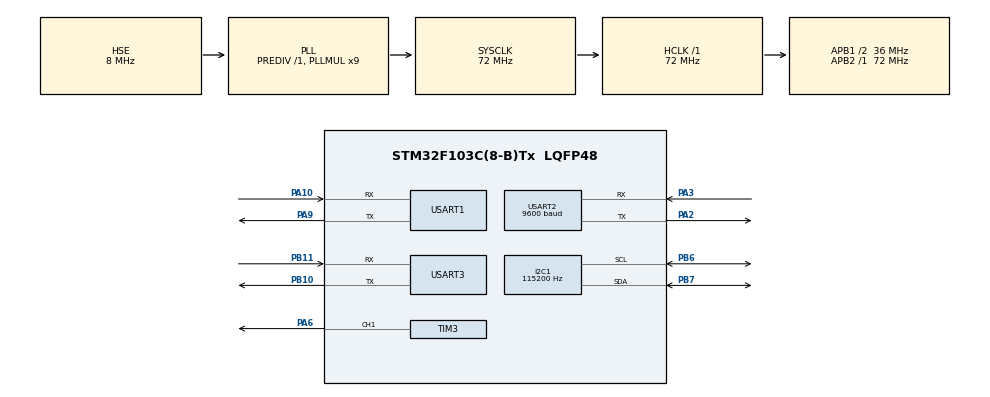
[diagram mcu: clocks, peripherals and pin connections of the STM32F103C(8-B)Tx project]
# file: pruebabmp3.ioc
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Dma.Request0=USART2_RX
Dma.USART2_RX.0.Direction=DMA_PERIPH_TO_MEMORY
Dma.USART2_RX.0.Instance=DMA1_Channel6
Dma.USART2_RX.0.MemDataAlignment=DMA_MDATAALIGN_BYTE
Dma.USART2_RX.0.MemInc=DMA_MINC_ENABLE
Dma.USART2_RX.0.Mode=DMA_CIRCULAR
Dma.USART2_RX.0.PeriphDataAlignment=DMA_PDATAALIGN_BYTE
Dma.USART2_RX.0.PeriphInc=DMA_PINC_DISABLE
Dma.USART2_RX.0.Priority=DMA_PRIORITY_HIGH
I2C1.ClockSpeed=115200
I2C1.I2C_Mode=I2C_Fast
Mcu.Family=STM32F1
Mcu.Name=STM32F103C(8-B)Tx
Mcu.Package=LQFP48
NVIC.DMA1_Channel6_IRQn=true\:0\:0\:false\:false\:true\:false\:true\:true
NVIC.PriorityGroup=NVIC_PRIORITYGROUP_4
PA10.Mode=Asynchronous
PA10.Signal=USART1_RX
PA2.Mode=Asynchronous
PA2.Signal=USART2_TX
PA3.Mode=Asynchronous
PA3.Signal=USART2_RX
PA6.Signal=S_TIM3_CH1
PA9.Mode=Asynchronous
PA9.Signal=USART1_TX
PB10.Mode=Asynchronous
PB10.Signal=USART3_TX
PB11.Mode=Asynchronous
PB11.Signal=USART3_RX
PB6.Mode=I2C
PB6.Signal=I2C1_SCL
PB7.Mode=I2C
PB7.Signal=I2C1_SDA
PD0-OSC_IN.Mode=HSE-External-Oscillator
PD0-OSC_IN.Signal=RCC_OSC_IN
PD1-OSC_OUT.Mode=HSE-External-Oscillator
PD1-OSC_OUT.Signal=RCC_OSC_OUT
ProjectManager.HeapSize=0x200
ProjectManager.StackSize=0x400
ProjectManager.TargetToolchain=STM32CubeIDE
RCC.AHBFreq_Value=72000000
RCC.APB1CLKDivider=RCC_HCLK_DIV2
RCC.APB1Freq_Value=36000000
RCC.APB1TimFreq_Value=72000000
RCC.APB2Freq_Value=72000000
RCC.APB2TimFreq_Value=72000000
RCC.HCLKFreq_Value=72000000
RCC.PLLMUL=RCC_PLL_MUL9
RCC.PLLSourceVirtual=RCC_PLLSOURCE_HSE
RCC.SYSCLKFreq_VALUE=72000000
RCC.SYSCLKSource=RCC_SYSCLKSOURCE_PLLCLK
RCC.USBFreq_Value=72000000
SH.S_TIM3_CH1.0=TIM3_CH1,PWM Generation1 CH1
TIM3.Channel-PWM\ Generation1\ CH1=TIM_CHANNEL_1
TIM3.Period=19999
TIM3.Prescaler=71
TIM3.Pulse-PWM\ Generation1\ CH1=1500
USART1.VirtualMode=VM_ASYNC
USART2.BaudRate=9600
USART2.VirtualMode=VM_ASYNC
USART3.VirtualMode=VM_ASYNC
VP_SYS_VS_ND.Mode=No_Debug
board=custom

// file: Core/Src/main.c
/* USER CODE BEGIN Header */
/**
  ******************************************************************************
  * @file           : main.c
  * @brief          : Main program body
  ******************************************************************************
  * @attention
  *
  * Copyright (c) 2024 STMicroelectronics.
  * All rights reserved.
  *
  * This software is licensed under terms that can be found in the LICENSE file
  * in the root directory of this software component.
  * If no LICENSE file comes with this software, it is provided AS-IS.
  *
  ******************************************************************************
  */
/* USER CODE END Header */
#include "main.h"

/* USER CODE BEGIN Includes */
#include <bmp280.h>
#include <stdio.h>
#include <string.h>
#include <math.h>
#include <uart.h>
#include <mpu9250.h>
#include <stdlib.h>

/* USER CODE END Includes */

/* USER CODE BEGIN PD */
#define GPS_BUFFER_SIZE 1024
uint8_t gpsBuffer[GPS_BUFFER_SIZE];
volatile uint32_t gpsBufferIndex = 0;
volatile uint8_t gpsDataReady = 0;
/* USER CODE END PD */

I2C_HandleTypeDef hi2c1;

TIM_HandleTypeDef htim3;

UART_HandleTypeDef huart1;
UART_HandleTypeDef huart2;
UART_HandleTypeDef huart3;
DMA_HandleTypeDef hdma_usart2_rx;

/* USER CODE BEGIN PV */
BMP280_HandleTypedef bmp280;
float pressure;
float temperature;
float humidity;
uint16_t size;
uint8_t Data[256];
//MODULO GPS
uint8_t Rxdata[750];
char Txdata[750];
uint8_t Flag=0;
char *ptr;

char GPS_Payload[100];
float time = 0, latitude = 0, longitude = 0;
char lat_dir = 'N', long_dir = 'E';
int hours = 0, minutes = 0;
float seconds = 0;

volatile uint32_t lastTransmissionTime = 0;
	//variables para transmitir

uint16_t tamaño=0;
char Mensaje_a_enviar_var_unidas[500];
char mensaje[500];

//altitud:

float gps_altitude = 0; // Nueva variable para la altitud del GPS

//Press=82893.48Pa
#define FILTER_SIZE 10
#define PO 74450.0f //Presion en cajicá
//#define PO 82318.98f  // Presión en lab de camilo
#define RO 1.225f    // Densidad del aire a nivel del mar en kg/m³
#define G 9.81f      // Aceleración debido a la gravedad en m/s²

float pressureBuffer[FILTER_SIZE];
int bufferIndex = 0;

///ahorrodeenergia
uint32_t lastWakeTime = 0;
const uint32_t SLEEP_INTERVAL = 5000; // 5 segundos de intervalo de sueño
const uint32_t TRANSMIT_INTERVAL = 60000; // 1 minuto entre transmisiones
//servo

#define SERVO_MIN_PULSE 1000   // 0 grados
#define SERVO_MAX_PULSE 2000  // 180 grados
#define SERVO_FILTER_SIZE 5
float servoAngleBuffer[SERVO_FILTER_SIZE] = {0};
int servoBufferIndex = 0;

#define ALTITUDE_MIN 0        // Altitud mínima en metros
#define ALTITUDE_TARGET 200.0f   // Altitud objetivo en metros (1.5m como especificaste)
#define ALTITUDE_MAX 500       // Altitud máxima en metros

TIM_HandleTypeDef htim3;
float baseAltitude = 0;      // Altitud base (nivel del suelo)

float lastAltitude = 0;
bool passedFirstPeak = false;
float servoAngle = 0;

/* USER CODE END PV */

void SystemClock_Config(void);
static void MX_GPIO_Init(void);
static void MX_DMA_Init(void);
static void MX_I2C1_Init(void);
static void MX_USART1_UART_Init(void);
static void MX_USART3_UART_Init(void);
static void MX_USART2_UART_Init(void);
static void MX_TIM3_Init(void);
/* USER CODE BEGIN PFP */
void process_gps_data(void);
void send_gps_data(void);
void Format_data(float time, float lat, char lat_dir, float lon, char long_dir, float gps_alt);
void LoRa_Init(void);
void initializeServo(void);
void LoRa_Send(const char* data);
float movingAverageFilter(float newValue);
float calculateAltitude(float pressure);
void moveServoBasedOnAltitude(float altitude);
float filterServoAngle(float newAngle);
void moveServoToAngle(float angle);
/* USER CODE END PFP */

int main(void)
{

  /* MCU Configuration--------------------------------------------------------*/

  /* Reset of all peripherals, Initializes the Flash interface and the Systick. */
  HAL_Init();

  /* Configure the system clock */
  SystemClock_Config();

  /* Initialize all configured peripherals */
  MX_GPIO_Init();
  MX_DMA_Init();
  MX_I2C1_Init();
  MX_USART1_UART_Init();
  MX_USART3_UART_Init();
  MX_USART2_UART_Init();

  /* USER CODE BEGIN 2 */
  MX_TIM3_Init();
  HAL_TIM_Base_Start(&htim3);
  initializeServo();

  char debug[100];
  snprintf(debug, sizeof(debug), "Timer3 config: PSC=%lu, ARR=%lu, Frecuencia=%lu Hz\r\n",
           htim3.Init.Prescaler, htim3.Init.Period,
           HAL_RCC_GetPCLK1Freq() / ((htim3.Init.Prescaler + 1) * (htim3.Init.Period + 1)));
  HAL_UART_Transmit(&huart1, (uint8_t*)debug, strlen(debug), HAL_MAX_DELAY);

  LoRa_Init();
  HAL_UART_Receive_DMA(&huart2, (uint8_t*)gpsBuffer, GPS_BUFFER_SIZE);
  lastTransmissionTime = 0 ;

  //En estas lineas pasan cosas raras, aquí es donde se inicializa el dispositivo
  	  	bmp280_init_default_params(&bmp280.params);
    	bmp280.addr = BMP280_I2C_ADDRESS_0;
    	bmp280.i2c = &hi2c1;

    	while (!bmp280_init(&bmp280, &bmp280.params)) {
    	    sprintf((char *)Data, "BMP280 initialization failed\n");
    	    //uartx_write_text(&huart1, Data);
    	    HAL_Delay(1000);
    	}
	bool bme280p = bmp280.id == BMP280_CHIP_ID;
	sprintf((char *)Data, "BMP280: found %s\n", bme280p ? "BME280" : "BMP280");
	uartx_write_text(&huart1, Data);

	 float temp, pressure, humidity;
	 bmp280_read_float(&bmp280, &temp, &pressure, &humidity);

	 for (int i = 0; i < 20; i++) {  // Promedio de 10 lecturas
	     float temp, pressure, humidity;
	     bmp280_read_float(&bmp280, &temp, &pressure, &humidity);
	     baseAltitude += calculateAltitude(pressure);
	     HAL_Delay(100);  // Pequeña pausa entre lecturas
	 }
	 baseAltitude /= 20.0f;

	 //gps

  /* USER CODE END 2 */
  //Ciclo princial
  /* Infinite loop */
  while (1)
  {

    /* USER CODE BEGIN 3 */
	  uint32_t currentTime = HAL_GetTick();

	     if (currentTime - lastTransmissionTime >= 1000)  // 1000 ms = 1 segundo
	     {
	         // Leer datos del GPS
	         process_gps_data();

	         // Leer datos del BMP280
	         float temperature, pressure;
	         bmp280_read_float(&bmp280, &temperature, &pressure, NULL);

	         // Aplicar filtro de media móvil a la presión
	         float filteredPressure = movingAverageFilter(pressure);

	         // Calcular altitud con el BMP280
	         float bmp280_altitude = calculateAltitude(filteredPressure);
	         float relativeAltitude = bmp280_altitude - baseAltitude;

	         // Solo mover el servo si es necesario
	         moveServoBasedOnAltitude(bmp280_altitude);

	         // Leer datos del MPU9250
	         float accelData[3], gyroData[3], magData[3];
	         MPU9250_ReadAccel(&hi2c1, accelData);
	         MPU9250_ReadGyro(&hi2c1, gyroData);
	         MPU9250_ReadMag(&hi2c1, magData);

	         // Formar el mensaje con los datos
	         char buffer[512];
	         int len = snprintf(buffer, sizeof(buffer),
	             "Time=%02d:%02d:%05.2f,Lat=%.6f,Long=%.6f,"
	             "Temp=%.2fC,Press=%.2fPa,RelAlt=%.2fm,"
	             "AccX=%.2f,AccY=%.2f,AccZ=%.2f,"
	             "GyroX=%.2f,GyroY=%.2f,GyroZ=%.2f,"
	             "MagX=%.2f,MagY=%.2f,MagZ=%.2f\r\n",
	             hours, minutes, seconds, latitude, longitude,
	             temperature, filteredPressure, relativeAltitude,
	             accelData[0], accelData[1], accelData[2],
	             gyroData[0], gyroData[1], gyroData[2],
	             magData[0], magData[1], magData[2]);

	         // Enviar el mensaje por UART1
	         HAL_UART_Transmit(&huart1, (uint8_t *)buffer, len, HAL_MAX_DELAY);

	         // Enviar el mensaje por LoRa
	         LoRa_Send(buffer);

	         lastTransmissionTime = currentTime;
	     }

	     // Entrar en modo de bajo consumo
	     HAL_PWR_EnterSLEEPMode(PWR_MAINREGULATOR_ON, PWR_SLEEPENTRY_WFI);
  }
  /* USER CODE END 3 */
}

void SystemClock_Config(void)
{
  RCC_OscInitTypeDef RCC_OscInitStruct = {0};
  RCC_ClkInitTypeDef RCC_ClkInitStruct = {0};

  /** Initializes the RCC Oscillators according to the specified parameters
  * in the RCC_OscInitTypeDef structure.
  */
  RCC_OscInitStruct.OscillatorType = RCC_OSCILLATORTYPE_HSE;
  RCC_OscInitStruct.HSEState = RCC_HSE_ON;
  RCC_OscInitStruct.HSEPredivValue = RCC_HSE_PREDIV_DIV1;
  RCC_OscInitStruct.HSIState = RCC_HSI_ON;
  RCC_OscInitStruct.PLL.PLLState = RCC_PLL_ON;
  RCC_OscInitStruct.PLL.PLLSource = RCC_PLLSOURCE_HSE;
  RCC_OscInitStruct.PLL.PLLMUL = RCC_PLL_MUL9;
  if (HAL_RCC_OscConfig(&RCC_OscInitStruct) != HAL_OK)
  {
    Error_Handler();
  }

  /** Initializes the CPU, AHB and APB buses clocks
  */
  RCC_ClkInitStruct.ClockType = RCC_CLOCKTYPE_HCLK|RCC_CLOCKTYPE_SYSCLK
                              |RCC_CLOCKTYPE_PCLK1|RCC_CLOCKTYPE_PCLK2;
  RCC_ClkInitStruct.SYSCLKSource = RCC_SYSCLKSOURCE_PLLCLK;
  RCC_ClkInitStruct.AHBCLKDivider = RCC_SYSCLK_DIV1;
  RCC_ClkInitStruct.APB1CLKDivider = RCC_HCLK_DIV2;
  RCC_ClkInitStruct.APB2CLKDivider = RCC_HCLK_DIV1;

  if (HAL_RCC_ClockConfig(&RCC_ClkInitStruct, FLASH_LATENCY_2) != HAL_OK)
  {
    Error_Handler();
  }
}

static void MX_I2C1_Init(void)
{

  hi2c1.Instance = I2C1;
  hi2c1.Init.ClockSpeed = 115200;
  hi2c1.Init.DutyCycle = I2C_DUTYCYCLE_2;
  hi2c1.Init.OwnAddress1 = 0;
  hi2c1.Init.AddressingMode = I2C_ADDRESSINGMODE_7BIT;
  hi2c1.Init.DualAddressMode = I2C_DUALADDRESS_DISABLE;
  hi2c1.Init.OwnAddress2 = 0;
  hi2c1.Init.GeneralCallMode = I2C_GENERALCALL_DISABLE;
  hi2c1.Init.NoStretchMode = I2C_NOSTRETCH_DISABLE;
  if (HAL_I2C_Init(&hi2c1) != HAL_OK)
  {
    Error_Handler();
  }

}

static void MX_TIM3_Init(void)
{

  TIM_MasterConfigTypeDef sMasterConfig = {0};
  TIM_OC_InitTypeDef sConfigOC = {0};

  htim3.Instance = TIM3;
  htim3.Init.Prescaler = 71;
  htim3.Init.CounterMode = TIM_COUNTERMODE_UP;
  htim3.Init.Period = 19999;
  htim3.Init.ClockDivision = TIM_CLOCKDIVISION_DIV1;
  htim3.Init.AutoReloadPreload = TIM_AUTORELOAD_PRELOAD_DISABLE;
  if (HAL_TIM_PWM_Init(&htim3) != HAL_OK)
  {
    Error_Handler();
  }
  sMasterConfig.MasterOutputTrigger = TIM_TRGO_RESET;
  sMasterConfig.MasterSlaveMode = TIM_MASTERSLAVEMODE_DISABLE;
  if (HAL_TIMEx_MasterConfigSynchronization(&htim3, &sMasterConfig) != HAL_OK)
  {
    Error_Handler();
  }
  sConfigOC.OCMode = TIM_OCMODE_PWM1;
  sConfigOC.Pulse = 1500;
  sConfigOC.OCPolarity = TIM_OCPOLARITY_HIGH;
  sConfigOC.OCFastMode = TIM_OCFAST_DISABLE;
  if (HAL_TIM_PWM_ConfigChannel(&htim3, &sConfigOC, TIM_CHANNEL_1) != HAL_OK)
  {
    Error_Handler();
  }
  HAL_TIM_MspPostInit(&htim3);

}

static void MX_USART1_UART_Init(void)
{

  huart1.Instance = USART1;
  huart1.Init.BaudRate = 115200;
  huart1.Init.WordLength = UART_WORDLENGTH_8B;
  huart1.Init.StopBits = UART_STOPBITS_1;
  huart1.Init.Parity = UART_PARITY_NONE;
  huart1.Init.Mode = UART_MODE_TX_RX;
  huart1.Init.HwFlowCtl = UART_HWCONTROL_NONE;
  huart1.Init.OverSampling = UART_OVERSAMPLING_16;
  if (HAL_UART_Init(&huart1) != HAL_OK)
  {
    Error_Handler();
  }

}

static void MX_USART2_UART_Init(void)
{

  huart2.Instance = USART2;
  huart2.Init.BaudRate = 9600;
  huart2.Init.WordLength = UART_WORDLENGTH_8B;
  huart2.Init.StopBits = UART_STOPBITS_1;
  huart2.Init.Parity = UART_PARITY_NONE;
  huart2.Init.Mode = UART_MODE_TX_RX;
  huart2.Init.HwFlowCtl = UART_HWCONTROL_NONE;
  huart2.Init.OverSampling = UART_OVERSAMPLING_16;
  if (HAL_UART_Init(&huart2) != HAL_OK)
  {
    Error_Handler();
  }

}

static void MX_USART3_UART_Init(void)
{

  huart3.Instance = USART3;
  huart3.Init.BaudRate = 115200;
  huart3.Init.WordLength = UART_WORDLENGTH_8B;
  huart3.Init.StopBits = UART_STOPBITS_1;
  huart3.Init.Parity = UART_PARITY_NONE;
  huart3.Init.Mode = UART_MODE_TX_RX;
  huart3.Init.HwFlowCtl = UART_HWCONTROL_NONE;
  huart3.Init.OverSampling = UART_OVERSAMPLING_16;
  if (HAL_UART_Init(&huart3) != HAL_OK)
  {
    Error_Handler();
  }

}

static void MX_DMA_Init(void)
{

  /* DMA controller clock enable */
  __HAL_RCC_DMA1_CLK_ENABLE();

  /* DMA interrupt init */
  /* DMA1_Channel6_IRQn interrupt configuration */
  HAL_NVIC_SetPriority(DMA1_Channel6_IRQn, 0, 0);
  HAL_NVIC_EnableIRQ(DMA1_Channel6_IRQn);

}

static void MX_GPIO_Init(void)
{

  /* GPIO Ports Clock Enable */
  __HAL_RCC_GPIOD_CLK_ENABLE();
  __HAL_RCC_GPIOA_CLK_ENABLE();
  __HAL_RCC_GPIOB_CLK_ENABLE();

}

/* USER CODE BEGIN 4 */
void process_gps_data(void)
{
    if (gpsDataReady)
    {
        char *ptr_rmc = strstr((char*)gpsBuffer, "$GPRMC");
        char *ptr_gga = strstr((char*)gpsBuffer, "$GPGGA");

        if (ptr_rmc != NULL)
        {
            if (sscanf(ptr_rmc, "$GPRMC,%f,A,%f,%c,%f,%c", &time, &latitude, &lat_dir, &longitude, &long_dir) == 5)
            {
                // Convertir latitud y longitud a grados decimales
                float lat_degrees = (int)(latitude / 100);
                float lat_minutes = latitude - (lat_degrees * 100);
                latitude = lat_degrees + (lat_minutes / 60);
                if (lat_dir == 'S') latitude = -latitude;

                float long_degrees = (int)(longitude / 100);
                float long_minutes = longitude - (long_degrees * 100);
                longitude = long_degrees + (long_minutes / 60);
                if (long_dir == 'W') longitude = -longitude;

                // Convertir tiempo
                hours = (int)time / 10000;
                minutes = (int)(time - (hours * 10000)) / 100;
                seconds = time - ((int)time / 100) * 100;
            }
        }

        if (ptr_gga != NULL)
        {
            if (sscanf(ptr_gga, "$GPGGA,%*f,%*f,%*c,%*f,%*c,%*d,%*d,%*f,%f", &gps_altitude) == 1)
            {
                // La altitud del GPS se ha extraído correctamente
            }
            else
            {
                gps_altitude = 0; // Si no se pudo extraer, se establece a 0
            }
        }

        if (ptr_rmc == NULL && ptr_gga == NULL)
        {
            // Si no se encontró ninguna de las dos cadenas, invalidar los datos
            time = 0;
            latitude = 0;
            longitude = 0;
            gps_altitude = 0;
        }

        gpsDataReady = 0;
        gpsBufferIndex = 0;
        HAL_UART_Receive_DMA(&huart2, gpsBuffer, GPS_BUFFER_SIZE);
    }
}

void send_gps_data(void)
{
    if (time != 0 && latitude != 0 && longitude != 0)
    {
        Format_data(time, latitude, lat_dir, longitude, long_dir, gps_altitude);
    }
}

void Format_data(float time, float lat, char lat_dir, float lon, char long_dir, float gps_alt)
{
    char Data[150];
    snprintf(Data, sizeof(Data), "\r\nTime=%02d:%02d:%05.2f, Lat=%.6f, Long=%.6f, GPS Alt=%.2f m\r\n",
             hours, minutes, seconds, lat, lon, gps_alt);
    HAL_UART_Transmit(&huart1, (uint8_t*)Data, strlen(Data), 1000);
}

void HAL_UART_RxCpltCallback(UART_HandleTypeDef *huart)
{
    if (huart->Instance == USART2)
    {
        gpsDataReady = 1;
    }
}

//funciones del Lora:

/* USER CODE BEGIN 4 */
void LoRa_Init(void)
{

    // Configurar el módulo LoRa
    HAL_UART_Transmit(&huart3, (uint8_t*)"AT+MODE=0\r\n", 11, 1000);
    HAL_Delay(100);

    // Configurar la frecuencia (ajusta según tu región)
    HAL_UART_Transmit(&huart3, (uint8_t*)"AT+BAND=868500000\r\n", 20, 1000);
    HAL_Delay(100);

    // Configurar los parámetros de transmisión
    HAL_UART_Transmit(&huart3, (uint8_t*)"AT+PARAMETER=10,7,1,7\r\n", 24, 1000);
    HAL_Delay(100);

    // Configurar la potencia de transmisión
    // A mayor potencia de transmisión, mayor consumo de corriente (a tener en cuenta)
    HAL_UART_Transmit(&huart3, (uint8_t*)"AT+CRFOP=6\r\n", 13, 1000);
    HAL_Delay(100);
}

void LoRa_Send(const char* data)
{
    char cmd[600];
    int len = snprintf(cmd, sizeof(cmd), "AT+SEND=0,%d,%s\r\n", strlen(data), data);
    HAL_UART_Transmit(&huart3, (uint8_t*)cmd, len, HAL_MAX_DELAY);
}
float movingAverageFilter(float newValue) {
    static int count = 0;
    static float sum = 0;

    if (count < FILTER_SIZE) {
        pressureBuffer[count] = newValue;
        sum += newValue;
        count++;
    } else {
        sum -= pressureBuffer[bufferIndex];
        pressureBuffer[bufferIndex] = newValue;
        sum += newValue;
        bufferIndex = (bufferIndex + 1) % FILTER_SIZE;
    }

    return sum / count;
}
float filterServoAngle(float newAngle) {
    static int count = 0;
    static float sum = 0;

    if (count < SERVO_FILTER_SIZE) {
        servoAngleBuffer[count] = newAngle;
        sum += newAngle;
        count++;
    } else {
        sum -= servoAngleBuffer[servoBufferIndex];
        servoAngleBuffer[servoBufferIndex] = newAngle;
        sum += newAngle;
        servoBufferIndex = (servoBufferIndex + 1) % SERVO_FILTER_SIZE;
    }

    return sum / count;
}

void moveServoToAngle(float angle) {
    if (angle < 0) angle = 0;
    if (angle > 180) angle = 180;

    uint32_t pulse = SERVO_MIN_PULSE + (uint32_t)((angle / 180.0f) * (SERVO_MAX_PULSE - SERVO_MIN_PULSE));
    __HAL_TIM_SET_COMPARE(&htim3, TIM_CHANNEL_1, pulse);

    char debug[100];
    snprintf(debug, sizeof(debug), "Servo movido a %.1f grados, pulse: %lu\r\n", angle, pulse);
    HAL_UART_Transmit(&huart1, (uint8_t*)debug, strlen(debug), HAL_MAX_DELAY);

    HAL_Delay(20);  // Pequeña pausa para estabilizar
}
void moveServoBasedOnAltitude(float altitude) {
    static float lastAltitude = 0;
    static float maxAltitude = 0;
    static bool parachuteDeployed = false;
    static uint32_t lastMoveTime = 0;
    static const float DEPLOY_ALTITUDE = 200.0f; // Altura de despliegue en metros
    static const float ALTITUDE_HYSTERESIS = 2.0f; // Aumentamos la histéresis para mayor altura
    static const uint32_t MOVE_DELAY = 1000; // Retraso mínimo entre comprobaciones en ms

    float relativeAltitude = altitude - baseAltitude;
    uint32_t currentTime = HAL_GetTick();

    // Actualizar la altitud máxima alcanzada
    if (relativeAltitude > maxAltitude) {
        maxAltitude = relativeAltitude;
    }

    // Verificar si ha pasado suficiente tiempo desde la última comprobación
    if (currentTime - lastMoveTime < MOVE_DELAY) {
        return;
    }

    // Comprobar si hemos alcanzado o superado la altura de despliegue
    if (!parachuteDeployed && relativeAltitude >= DEPLOY_ALTITUDE) {
        // Activar el servo para desplegar el paracaídas
        moveServoToAngle(60.0f);  // Ajustamos a 90 grados para un despliegue completo

        parachuteDeployed = true;

        // Imprimir información de depuración
        char debug[100];
        snprintf(debug, sizeof(debug), "Paracaídas desplegado! Alt: %.2f m, Max Alt: %.2f m, Servo: 90.0 deg\r\n",
                 relativeAltitude, maxAltitude);
        HAL_UART_Transmit(&huart1, (uint8_t*)debug, strlen(debug), HAL_MAX_DELAY);
    }

    lastAltitude = relativeAltitude;
    lastMoveTime = currentTime;
}
void initializeServo() {
    HAL_TIM_PWM_Stop(&htim3, TIM_CHANNEL_1);
    TIM_OC_InitTypeDef sConfigOC = {0};
    sConfigOC.OCMode = TIM_OCMODE_PWM1;
    sConfigOC.Pulse = SERVO_MIN_PULSE;  // Usar SERVO_MIN_PULSE en lugar de 1500
    sConfigOC.OCPolarity = TIM_OCPOLARITY_HIGH;
    sConfigOC.OCFastMode = TIM_OCFAST_DISABLE;
    HAL_TIM_PWM_ConfigChannel(&htim3, &sConfigOC, TIM_CHANNEL_1);
    HAL_TIM_PWM_Start(&htim3, TIM_CHANNEL_1);

    // Mover el servo a 0 grados
    moveServoToAngle(0);
    HAL_Delay(1000);

    char debug[100];
    snprintf(debug, sizeof(debug), "Servo inicializado a 0 grados\r\n");
    HAL_UART_Transmit(&huart1, (uint8_t*)debug, strlen(debug), HAL_MAX_DELAY);
}

/* USER CODE END 4 */

void Error_Handler(void)
{
  __disable_irq();
  while (1)
  {
  }
}
